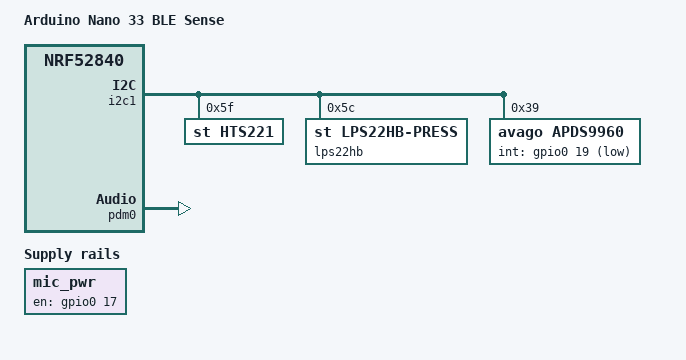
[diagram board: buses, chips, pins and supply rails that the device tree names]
/*
 * Copyright (c) 2020 Jefferson Lee
 *
 * SPDX-License-Identifier: Apache-2.0
 */
/dts-v1/;
#include <nordic/nrf52840_qiaa.dtsi>
#include "arduino_nano_33_ble-common.dtsi"
#include "arduino_nano_33_ble-pinctrl.dtsi"
#include "arduino_nano_r3_connector.dtsi"

/ {
	model = "Arduino Nano 33 BLE Sense";
	compatible = "arduino,arduino_nano_33_ble_sense";

	mic_pwr: mic_pwr {
		compatible = "regulator-fixed";
		regulator-name = "mic_pwr";
		enable-gpios = <&gpio0 17 GPIO_ACTIVE_HIGH>;
		regulator-boot-on;
	};
};

&i2c1 {
	hts221: hts221@5f {
		compatible = "st,hts221";
		status = "okay";
		reg = <0x5f>;
	};

	lps22hb: lps22hb-press@5c {
		compatible = "st,lps22hb-press";
		status = "okay";
		reg = <0x5c>;
	};

	apds9960: apds9960@39 {
		compatible = "avago,apds9960";
		status = "okay";
		reg = <0x39>;
		int-gpios = <&gpio0 19 (GPIO_ACTIVE_LOW | GPIO_PULL_UP)>;
	};
};

dmic_dev: &pdm0 {
	status = "okay";
	pinctrl-0 = <&pdm0_default>;
	pinctrl-1 = <&pdm0_sleep>;
	pinctrl-names = "default", "sleep";
	clock-source = "PCLK32M_HFXO";
};
